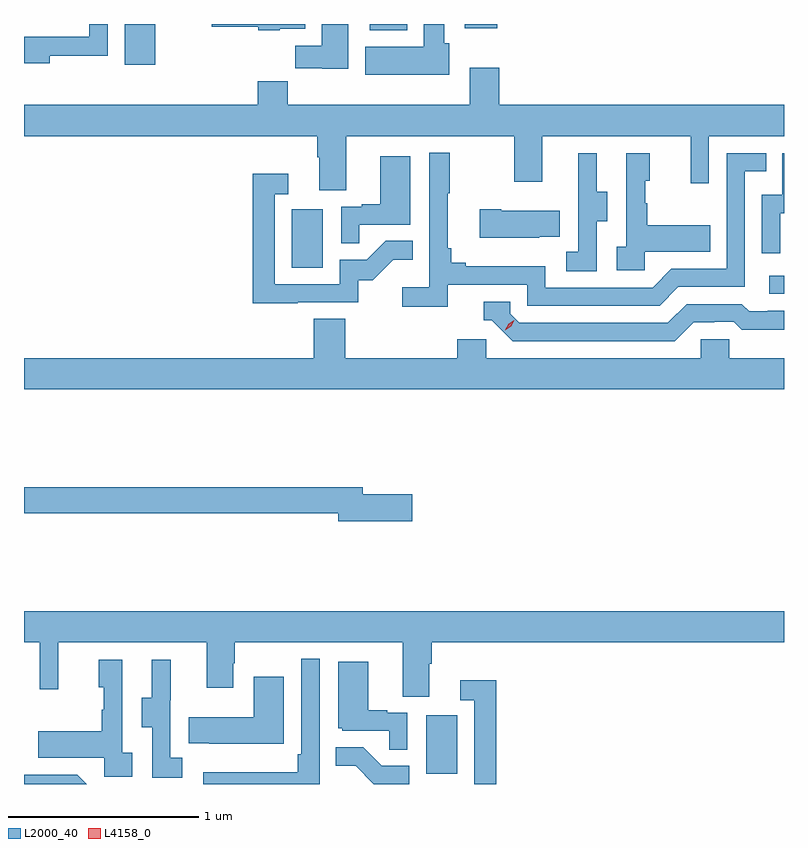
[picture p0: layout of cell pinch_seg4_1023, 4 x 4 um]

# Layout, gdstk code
import gdstk
lib = gdstk.Library(unit=1e-6, precision=1e-09)
def R(c, l, rs):  # rectangles x0, y0, x1, y1
    for r in rs: c.add(gdstk.rectangle(r[:2], r[2:], *l))
def P(c, l, *ps):  # polygons
    for p in ps: c.add(gdstk.Polygon(p, *l))
L2000_40 = (2000, 40)
L4158_0 = (4158, 0)

pinch_seg4_1023 = lib.new_cell('pinch_seg4_1023')
R(pinch_seg4_1023, L2000_40, [(818.264,762.828,818.428,763.135), (820.071,765.354,820.148,765.45), (817.556,765.492,817.72,765.799), (816.677,766.56,816.838,766.774), (817.967,766.742,818.164,766.774), (818.468,766.752,818.639,766.774)])
P(pinch_seg4_1023, L2000_40, [(817.494,766.748),(817.627,766.748),(817.627,766.774),(817.136,766.774),(817.136,766.76),(817.38,766.76),(817.38,766.742),(817.494,766.742)],
  [(816.283,766.606),(816.588,766.606),(816.588,766.774),(816.492,766.774),(816.492,766.707),(816.179,766.707),(816.179,766.708),(816.148,766.708),(816.148,766.568),(816.283,766.568)],
  [(818.386,766.674),(818.359,766.674),(818.359,766.774),(818.252,766.774),(818.252,766.654),(817.943,766.654),(817.943,766.508),(818.386,766.508)],
  [(817.855,766.774),(817.715,766.774),(817.715,766.66),(817.576,766.66),(817.576,766.542),(817.719,766.542),(817.719,766.538),(817.855,766.538)],
  [(817.843,766.184),(818.728,766.184),(818.728,765.945),(818.875,765.945),(818.875,766.184),(819.656,766.184),(819.656,765.936),(819.753,765.936),(819.753,766.184),(820.148,766.184),(820.148,766.348),(818.648,766.348),(818.648,766.543),(818.495,766.543),(818.495,766.348),(817.535,766.348),(817.535,766.472),(817.379,766.472),(817.379,766.348),(816.148,766.348),(816.148,766.184),(817.691,766.184),(817.691,766.072),(817.703,766.072),(817.703,765.898),(817.843,765.898)],
  [(818.378,765.402),(818.796,765.402),(818.796,765.291),(819.493,765.291),(819.592,765.39),(819.942,765.39),(819.942,765.999),(820.055,765.999),(820.055,766.095),(819.846,766.095),(819.846,765.486),(819.555,765.486),(819.456,765.387),(818.892,765.387),(818.892,765.499),(818.473,765.499),(818.473,765.518),(818.396,765.518),(818.396,765.595),(818.377,765.595),(818.377,765.883),(818.389,765.883),(818.389,766.096),(818.28,766.096),(818.28,765.388),(818.139,765.388),(818.139,765.286),(818.378,765.286)],
  [(820.128,765.779),(820.148,765.779),(820.148,766.095),(820.14,766.095),(820.14,765.876),(820.032,765.876),(820.032,765.567),(820.128,765.567)],
  [(819.414,765.575),(819.761,765.575),(819.761,765.715),(819.427,765.715),(819.427,765.83),(819.417,765.83),(819.417,765.948),(819.442,765.948),(819.442,766.093),(819.318,766.093),(819.318,765.602),(819.267,765.602),(819.267,765.477),(819.414,765.477)],
  [(819.162,765.736),(819.217,765.736),(819.217,765.891),(819.163,765.891),(819.163,766.093),(819.065,766.093),(819.065,765.879),(819.066,765.879),(819.066,765.575),(819.003,765.575),(819.003,765.472),(819.162,765.472)],
  [(817.913,765.717),(818.182,765.717),(818.182,766.078),(818.024,766.078),(818.024,765.826),(817.925,765.826),(817.925,765.813),(817.818,765.813),(817.818,765.619),(817.913,765.619)],
  [(817.589,765.309),(817.908,765.309),(817.908,765.426),(817.984,765.426),(818.091,765.533),(818.195,765.533),(818.195,765.632),(818.051,765.632),(817.953,765.534),(817.809,765.534),(817.809,765.405),(817.467,765.405),(817.467,765.879),(817.54,765.879),(817.54,765.985),(817.351,765.985),(817.351,765.304),(817.589,765.304)],
  [(818.861,765.653),(818.969,765.653),(818.969,765.79),(818.659,765.79),(818.659,765.798),(818.547,765.798),(818.547,765.65),(818.861,765.65)],
  [(819.673,765.204),(819.78,765.204),(819.78,765.207),(819.883,765.207),(819.925,765.165),(820.148,765.165),(820.148,765.264),(820.063,765.264),(820.063,765.261),(819.964,765.261),(819.925,765.3),(819.636,765.3),(819.537,765.201),(818.754,765.201),(818.706,765.249),(818.706,765.312),(818.567,765.312),(818.567,765.216),(818.61,765.216),(818.721,765.105),(819.574,765.105)],
  [(820.148,765.016),(819.861,765.016),(819.861,765.114),(819.711,765.114),(819.711,765.016),(818.58,765.016),(818.58,765.114),(818.429,765.114),(818.429,765.016),(817.838,765.016),(817.838,765.224),(817.673,765.224),(817.673,765.016),(816.148,765.016),(816.148,764.852),(820.148,764.852)],
  [(818.191,764.3),(817.93,764.3),(817.93,764.336),(816.148,764.336),(816.148,764.2),(817.802,764.2),(817.802,764.158),(818.191,764.158)],
  [(818.281,763.408),(818.294,763.408),(818.294,763.52),(820.148,763.52),(820.148,763.684),(816.148,763.684),(816.148,763.52),(816.231,763.52),(816.231,763.272),(816.329,763.272),(816.329,763.52),(817.109,763.52),(817.109,763.281),(817.249,763.281),(817.249,763.409),(817.257,763.409),(817.257,763.52),(818.141,763.52),(818.141,763.234),(818.281,763.234)],
  [(817.704,763.432),(817.608,763.432),(817.608,762.931),(817.588,762.931),(817.588,762.835),(817.092,762.835),(817.092,762.774),(817.704,762.774)],
  [(816.718,762.938),(816.666,762.938),(816.666,763.429),(816.542,763.429),(816.542,763.284),(816.568,763.284),(816.568,763.166),(816.558,763.166),(816.558,763.051),(816.223,763.051),(816.223,762.911),(816.57,762.911),(816.57,762.813),(816.718,762.813)],
  [(816.982,762.911),(816.918,762.911),(816.918,763.215),(816.92,763.215),(816.92,763.429),(816.821,763.429),(816.821,763.227),(816.767,763.227),(816.767,763.072),(816.822,763.072),(816.822,762.808),(816.982,762.808)],
  [(818.166,763.149),(818.06,763.149),(818.06,763.162),(817.96,763.162),(817.96,763.417),(817.802,763.417),(817.802,763.068),(817.824,763.068),(817.824,763.053),(818.071,763.053),(818.071,762.955),(818.166,762.955)],
  [(817.516,763.339),(817.358,763.339),(817.358,763.126),(817.015,763.126),(817.015,762.989),(817.123,762.989),(817.123,762.986),(817.516,762.986)],
  [(818.633,763.321),(818.445,763.321),(818.445,763.215),(818.517,763.215),(818.517,762.774),(818.633,762.774)],
  [(818.175,762.87),(818.031,762.87),(817.933,762.968),(817.789,762.968),(817.789,762.869),(817.893,762.869),(817.988,762.774),(818.175,762.774)],
  [(816.429,762.822),(816.148,762.822),(816.148,762.774),(816.477,762.774)])
P(pinch_seg4_1023, L4158_0, [(818.682,765.163),(818.682,765.164),(818.698,765.196),(818.729,765.216),(818.729,765.216),(818.729,765.216),(818.713,765.183),(818.682,765.163)])

lib.write_gds('pinch_seg4_1023.gds')
